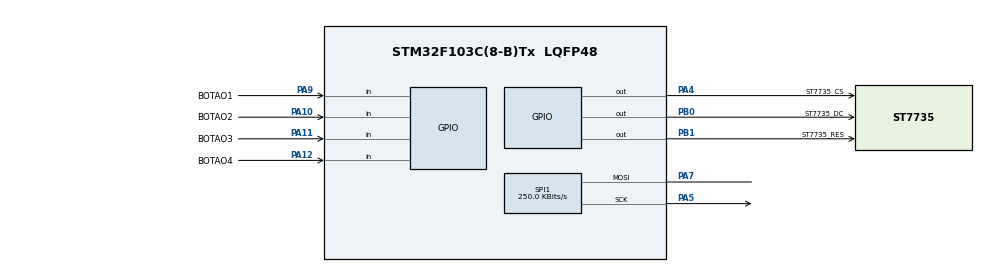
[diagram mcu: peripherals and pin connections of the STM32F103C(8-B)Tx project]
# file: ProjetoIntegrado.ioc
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Mcu.Family=STM32F1
Mcu.Name=STM32F103C(8-B)Tx
Mcu.Package=LQFP48
NVIC.PriorityGroup=NVIC_PRIORITYGROUP_4
PA10.GPIO_Label=BOTAO2
PA10.GPIO_PuPd=GPIO_PULLUP
PA10.Signal=GPIO_Input
PA11.GPIO_Label=BOTAO3
PA11.GPIO_PuPd=GPIO_PULLUP
PA11.Signal=GPIO_Input
PA12.GPIO_Label=BOTAO4
PA12.GPIO_PuPd=GPIO_PULLUP
PA12.Signal=GPIO_Input
PA13.Mode=Serial_Wire
PA13.Signal=SYS_JTMS-SWDIO
PA14.Mode=Serial_Wire
PA14.Signal=SYS_JTCK-SWCLK
PA4.GPIO_Label=ST7735_CS
PA4.Signal=GPIO_Output
PA5.Mode=Simplex_Bidirectional_Master
PA5.Signal=SPI1_SCK
PA7.Mode=Simplex_Bidirectional_Master
PA7.Signal=SPI1_MOSI
PA9.GPIO_Label=BOTAO1
PA9.GPIO_PuPd=GPIO_PULLUP
PA9.Signal=GPIO_Input
PB0.GPIO_Label=ST7735_DC
PB0.Signal=GPIO_Output
PB1.GPIO_Label=ST7735_RES
PB1.Signal=GPIO_Output
ProjectManager.HeapSize=0x200
ProjectManager.StackSize=0x400
ProjectManager.TargetToolchain=STM32CubeIDE
RCC.APB1Freq_Value=8000000
RCC.APB2Freq_Value=8000000
SPI1.BaudRatePrescaler=SPI_BAUDRATEPRESCALER_32
SPI1.CalculateBaudRate=250.0 KBits/s
SPI1.Direction=SPI_DIRECTION_1LINE
SPI1.Mode=SPI_MODE_MASTER
SPI1.VirtualType=VM_MASTER
board=custom

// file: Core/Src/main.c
/* USER CODE BEGIN Header */
/**
  ******************************************************************************
  * @file           : main.c
  * @brief          : Main program body
  ******************************************************************************
  * @attention
  *
  * <h2><center>&copy; Copyright (c) 2026 STMicroelectronics.
  * All rights reserved.</center></h2>
  *
  * This software component is licensed by ST under BSD 3-Clause license,
  * the "License"; You may not use this file except in compliance with the
  * License. You may obtain a copy of the License at:
  *                        opensource.org/licenses/BSD-3-Clause
  *
  ******************************************************************************
  */
/* USER CODE END Header */
#include "main.h"

/* USER CODE BEGIN Includes */
#include "st7735\st7735.h"
#include <stdio.h>
#include <string.h>
#include <stdlib.h>
#include <time.h>
/* USER CODE END Includes */

/* USER CODE BEGIN PD */
#define BOTAO1 HAL_GPIO_ReadPin(BOTAO1_GPIO_Port, BOTAO1_Pin)
#define BOTAO2 HAL_GPIO_ReadPin(BOTAO2_GPIO_Port, BOTAO2_Pin)
#define BOTAO3 HAL_GPIO_ReadPin(BOTAO3_GPIO_Port, BOTAO3_Pin)
#define BOTAO4 HAL_GPIO_ReadPin(BOTAO4_GPIO_Port, BOTAO4_Pin)
/* USER CODE END PD */

SPI_HandleTypeDef hspi1;

void SystemClock_Config(void);
static void MX_GPIO_Init(void);
static void MX_SPI1_Init(void);

int main(void)
{

  /* MCU Configuration--------------------------------------------------------*/

  /* Reset of all peripherals, Initializes the Flash interface and the Systick. */
  HAL_Init();

  /* Configure the system clock */
  SystemClock_Config();

  /* Initialize all configured peripherals */
  MX_GPIO_Init();
  MX_SPI1_Init();
  /* USER CODE BEGIN 2 */
  ST7735_Init();
  /* USER CODE END 2 */

  /* Infinite loop */
  /* USER CODE BEGIN WHILE */
  ST7735_Init();
  GPIO_PinState botao1,botao2,botao3,botao4;

  int senha;
  char buffer [200];
  char senhaStr[5];
  char entrada[5];
  int pos = 0;
  int numeroAtual =0;
  int quantidadeAlunos = 0;
  int alunosPresentes = 0;
  char presentes[10];
  char alunosStr[10];
  int estado = 0;
int estadoAnt1 = GPIO_PIN_SET;
int estadoAnt2 = GPIO_PIN_SET;
int estadoAnt3 = GPIO_PIN_SET;
int estadoAnt4 = GPIO_PIN_SET;
int modo = 0;

  while (1)
  {
	  	  	botao1 = HAL_GPIO_ReadPin(BOTAO1_GPIO_Port, BOTAO1_Pin);
		    botao2 = HAL_GPIO_ReadPin(BOTAO2_GPIO_Port, BOTAO2_Pin);
		    botao3 = HAL_GPIO_ReadPin(BOTAO3_GPIO_Port, BOTAO3_Pin);
		    botao4 = HAL_GPIO_ReadPin(BOTAO4_GPIO_Port, BOTAO4_Pin);

		  if (botao1 == GPIO_PIN_RESET)
		  {
	     ST7735_FillScreen(BLACK);
	     ST7735_WriteString(10, 10, "Iniciando Sistema", Font_7x10, WHITE, BLACK);

	     	 srand(HAL_GetTick());

		   senha = rand() % 9000 + 1000;
		   sprintf(senhaStr, "%04d", senha);
		   ST7735_WriteString(10, 60, senhaStr, Font_7x10, YELLOW, BLACK);

		   HAL_Delay(2000);

		   ST7735_FillScreen(BLACK);
		   ST7735_WriteString(10, 10, "Digite a senha para continuar", Font_7x10, WHITE, BLACK);

		   pos = 0;
		   numeroAtual = 0;

	       modo = 1;

		   HAL_Delay(300);
	   }

	    if (modo == 1 && botao2 == GPIO_PIN_RESET)
	    	{
	    		numeroAtual= (numeroAtual + 1) % 10;

	    		char temp[2];
	    		sprintf(temp, "%d", numeroAtual);

	    		ST7735_WriteString(10 + pos * 20, 40, temp, Font_7x10, WHITE, BLACK);

	    		HAL_Delay(200);
	    	}
	    if (modo == 1 && botao4 == GPIO_PIN_RESET)
	    {
	    	numeroAtual --;

	    	if (numeroAtual < 0 )
	    	{
	    		numeroAtual = 9;
	    	}
	    	char temp[2];
	    	sprintf(temp, "%d", numeroAtual);

    		ST7735_WriteString(10 + pos * 20, 40, temp, Font_7x10, WHITE, BLACK);

    		HAL_Delay(200);
	    }
	    if (modo == 1 && botao3 == GPIO_PIN_RESET)
	    {
	    	if ( pos < 4 )
	    	{

	    	entrada[pos] = numeroAtual + '0';

	    	char temp [2] = {entrada [pos], '\0'};
	    	ST7735_WriteString(10 + pos * 20, 40, temp, Font_7x10, GREEN, BLACK);

	    	pos ++;

	    	ST7735_FillRectangle(10 + pos*20,40,20,20,BLACK);

	    	numeroAtual = 0;

	    	}

	    	HAL_Delay(100);

	  	  	 if ( pos == 4)
	  	  	 {
	  	  		 entrada[4] = '\0';

	  	  		 if (strcmp(entrada, senhaStr) == 0)
	  	  		 {
	  	  			 ST7735_WriteString(10, 40, "Senha Correta", Font_7x10, RED,BLACK);
	  	  		 modo = 2;

	  	  		 HAL_Delay(1000);

	  	  		    ST7735_FillScreen(BLACK);
	  	  			ST7735_WriteString(10,10,"Digite a quantidade de alunos",Font_7x10,GREEN,BLACK);
	  	  			sprintf(alunosStr, "%d", quantidadeAlunos);
	  	  			ST7735_FillRectangle(10,40,50,20,BLACK);
	  	  			ST7735_WriteString(10,40,alunosStr,Font_7x10,YELLOW,BLACK);

	  	  		    HAL_Delay(1000);
	  	  		    quantidadeAlunos = 0;

	  	  		    modo = 2;

	  	  		while(HAL_GPIO_ReadPin(BOTAO3_GPIO_Port, BOTAO3_Pin)== GPIO_PIN_RESET);
	  	  		HAL_Delay(50);

	  	  		 }

	  	  		 	 else
	  	  		  	  		 {

	  	  		 ST7735_WriteString(10 , 40, "Senha Incorreta", Font_7x10, CYAN, BLACK);
	  	  		 HAL_Delay(900);
 	  			 ST7735_WriteString(10, 60, senhaStr, Font_7x10, YELLOW, BLACK);	  	  		  	  			 ST7735_FillScreen(BLACK);
	  	  		 ST7735_WriteString(10 , 10, "Digite novamente:", Font_7x10, CYAN, BLACK);
	  	  		 ST7735_FillRectangle(0, 40, 128, 20, BLACK);

	  	  		 pos = 0;
	  	 		numeroAtual = 0;

	  	 		memset(entrada, 0, sizeof(entrada));
	  	  		  	  		 }

	  	  	 }
	    }

	  	  	if (modo == 2 && botao2 == GPIO_PIN_RESET )
	  	  	{
	  	  		quantidadeAlunos++;

	  	  		if (quantidadeAlunos > 40)
	  	  		{
	  	  			quantidadeAlunos = 0;
	  	  			HAL_Delay(50);
	  	  		}

	  	  				sprintf(alunosStr, "%d", quantidadeAlunos);
	  	  				ST7735_FillRectangle(10, 40, 50, 20, BLACK);
	  	  				ST7735_WriteString(10,40,alunosStr,Font_7x10,YELLOW,BLACK);

	  	  			  	 HAL_Delay(200);
	  	  		}

	  	  			 if (modo == 2 && botao4 == GPIO_PIN_RESET)
	  	  			{
	  	  			  	 quantidadeAlunos--;

	  	  			  	 if (quantidadeAlunos < 0)
	  	  			  	{
	  	  			   	   quantidadeAlunos = 40;
	  	  			  	 }
	  	  			 sprintf(alunosStr, "%d", quantidadeAlunos);
	  	  			 ST7735_FillRectangle(10, 40, 50, 20, BLACK);
	  	  			 ST7735_WriteString(10,40,alunosStr,Font_7x10,YELLOW,BLACK);

	  	  			  	  	}

	  	  			  	  if (modo == 2 && botao3 == GPIO_PIN_RESET )
	  	  			 {
	  	  			  	      ST7735_FillScreen(BLACK);

	  	  			  	      ST7735_WriteString(10,10,"Alunos:",Font_7x10,GREEN,BLACK);
	  	  			  	      sprintf(alunosStr, "%d", quantidadeAlunos);
	  	  			  	      ST7735_WriteString(10,40,alunosStr,Font_7x10,YELLOW,BLACK);
	  	  			  	      HAL_Delay(1500);

	  	  			  	   modo = 3;
	  	  			  	  alunosPresentes = 0;

	  	  			  while(HAL_GPIO_ReadPin(BOTAO3_GPIO_Port, BOTAO3_Pin)== GPIO_PIN_RESET);
	  	  			  HAL_Delay(50);

	  	  			  	ST7735_FillScreen(BLACK);
	  	  			  	ST7735_WriteString(10,10,"Digite a quantidade de alunos presentes",Font_7x10,GREEN,BLACK);
	  	  			  	sprintf(alunosStr, "%d", alunosPresentes);
	  	  			  	ST7735_FillRectangle(10,40,50,20,BLACK);
	  	  			  	ST7735_WriteString(10,40,alunosStr,Font_7x10,YELLOW,BLACK);
	  	  			  	HAL_Delay(1000);

	  	  			 }

	  	  			  if (modo == 3 && botao2 == GPIO_PIN_RESET)
	  	  			  {
	  	  			      alunosPresentes++;

	  	  			      if (alunosPresentes > quantidadeAlunos)
	  	  			      {
	  	  			          alunosPresentes = 0;
	  	  			      }

	  	  			      sprintf(alunosStr, "%d", alunosPresentes);
	  	  			      ST7735_FillRectangle(10,40,50,20,BLACK);
	  	  			      ST7735_WriteString(10,40,alunosStr,Font_7x10,YELLOW, BLACK);

	  	  			      HAL_Delay(200);
	  	  			  }

	  	  			if (modo == 3 && botao4 == GPIO_PIN_RESET)
	  	  			{
	  	  			    alunosPresentes--;

	  	  			    if (alunosPresentes < 0)
	  	  			    {
	  	  			        alunosPresentes = quantidadeAlunos;
	  	  			    }

	  	  			    sprintf(alunosStr, "%d", alunosPresentes);
	  	  			    ST7735_FillRectangle(10,40,50,20,BLACK);
	  	  			    ST7735_WriteString(10,40,alunosStr,Font_7x10,YELLOW,BLACK);

	  	  			    HAL_Delay(200);
	  	  			}

	  	  		if (modo == 3 && botao3 == GPIO_PIN_RESET)
	  	  		{
	  	  		    ST7735_FillScreen(BLACK);

	  	  		    ST7735_WriteString(10,10,"Presentes:",Font_7x10,GREEN,BLACK);
	  	  		    sprintf(alunosStr,"%d",alunosPresentes);
	  	  		    ST7735_WriteString(10,40,alunosStr,Font_7x10,YELLOW, BLACK);

	  	  		    HAL_Delay(2000);
	  	  		}

	  	  		if (botao2 == GPIO_PIN_RESET && botao3 == GPIO_PIN_RESET )
	  	  		{
	  	  			ST7735_FillScreen(BLACK);
	  	  			ST7735_WriteString(10,30,"AULA FINALIZADA",Font_7x10,CYAN,BLACK);
	  	  			modo = 0;
	  	  			HAL_Delay(1000);

	  	  		while(HAL_GPIO_ReadPin(BOTAO2_GPIO_Port,BOTAO2_Pin) == GPIO_PIN_RESET ||HAL_GPIO_ReadPin(BOTAO3_GPIO_Port, BOTAO3_Pin) == GPIO_PIN_RESET);
	  	  		    HAL_Delay(50);

	  	  		}

	      estadoAnt1 = botao1;
	      estadoAnt2 = botao2;
	      estadoAnt3 = botao3;
	      estadoAnt4 = botao4;

	  }
  }

    /* USER CODE END WHILE */

void SystemClock_Config(void)
{
  RCC_OscInitTypeDef RCC_OscInitStruct = {0};
  RCC_ClkInitTypeDef RCC_ClkInitStruct = {0};

  /** Initializes the RCC Oscillators according to the specified parameters
  * in the RCC_OscInitTypeDef structure.
  */
  RCC_OscInitStruct.OscillatorType = RCC_OSCILLATORTYPE_HSI;
  RCC_OscInitStruct.HSIState = RCC_HSI_ON;
  RCC_OscInitStruct.HSICalibrationValue = RCC_HSICALIBRATION_DEFAULT;
  RCC_OscInitStruct.PLL.PLLState = RCC_PLL_NONE;
  if (HAL_RCC_OscConfig(&RCC_OscInitStruct) != HAL_OK)
  {
    Error_Handler();
  }
  /** Initializes the CPU, AHB and APB buses clocks
  */
  RCC_ClkInitStruct.ClockType = RCC_CLOCKTYPE_HCLK|RCC_CLOCKTYPE_SYSCLK
                              |RCC_CLOCKTYPE_PCLK1|RCC_CLOCKTYPE_PCLK2;
  RCC_ClkInitStruct.SYSCLKSource = RCC_SYSCLKSOURCE_HSI;
  RCC_ClkInitStruct.AHBCLKDivider = RCC_SYSCLK_DIV1;
  RCC_ClkInitStruct.APB1CLKDivider = RCC_HCLK_DIV1;
  RCC_ClkInitStruct.APB2CLKDivider = RCC_HCLK_DIV1;

  if (HAL_RCC_ClockConfig(&RCC_ClkInitStruct, FLASH_LATENCY_0) != HAL_OK)
  {
    Error_Handler();
  }
}

static void MX_SPI1_Init(void)
{

  /* SPI1 parameter configuration*/
  hspi1.Instance = SPI1;
  hspi1.Init.Mode = SPI_MODE_MASTER;
  hspi1.Init.Direction = SPI_DIRECTION_1LINE;
  hspi1.Init.DataSize = SPI_DATASIZE_8BIT;
  hspi1.Init.CLKPolarity = SPI_POLARITY_LOW;
  hspi1.Init.CLKPhase = SPI_PHASE_1EDGE;
  hspi1.Init.NSS = SPI_NSS_SOFT;
  hspi1.Init.BaudRatePrescaler = SPI_BAUDRATEPRESCALER_32;
  hspi1.Init.FirstBit = SPI_FIRSTBIT_MSB;
  hspi1.Init.TIMode = SPI_TIMODE_DISABLE;
  hspi1.Init.CRCCalculation = SPI_CRCCALCULATION_DISABLE;
  hspi1.Init.CRCPolynomial = 10;
  if (HAL_SPI_Init(&hspi1) != HAL_OK)
  {
    Error_Handler();
  }

}

static void MX_GPIO_Init(void)
{
  GPIO_InitTypeDef GPIO_InitStruct = {0};

  /* GPIO Ports Clock Enable */
  __HAL_RCC_GPIOA_CLK_ENABLE();
  __HAL_RCC_GPIOB_CLK_ENABLE();

  /*Configure GPIO pin Output Level */
  HAL_GPIO_WritePin(ST7735_CS_GPIO_Port, ST7735_CS_Pin, GPIO_PIN_RESET);

  /*Configure GPIO pin Output Level */
  HAL_GPIO_WritePin(GPIOB, ST7735_DC_Pin|ST7735_RES_Pin, GPIO_PIN_RESET);

  /*Configure GPIO pin : ST7735_CS_Pin */
  GPIO_InitStruct.Pin = ST7735_CS_Pin;
  GPIO_InitStruct.Mode = GPIO_MODE_OUTPUT_PP;
  GPIO_InitStruct.Pull = GPIO_NOPULL;
  GPIO_InitStruct.Speed = GPIO_SPEED_FREQ_LOW;
  HAL_GPIO_Init(ST7735_CS_GPIO_Port, &GPIO_InitStruct);

  /*Configure GPIO pins : ST7735_DC_Pin ST7735_RES_Pin */
  GPIO_InitStruct.Pin = ST7735_DC_Pin|ST7735_RES_Pin;
  GPIO_InitStruct.Mode = GPIO_MODE_OUTPUT_PP;
  GPIO_InitStruct.Pull = GPIO_NOPULL;
  GPIO_InitStruct.Speed = GPIO_SPEED_FREQ_LOW;
  HAL_GPIO_Init(GPIOB, &GPIO_InitStruct);

  /*Configure GPIO pins : PA9 PA10 PA11 PA12 */
  GPIO_InitStruct.Pin = GPIO_PIN_9|GPIO_PIN_10|GPIO_PIN_11|GPIO_PIN_12;
  GPIO_InitStruct.Mode = GPIO_MODE_INPUT;
  GPIO_InitStruct.Pull = GPIO_PULLUP;
  HAL_GPIO_Init(GPIOA, &GPIO_InitStruct);

}

void Error_Handler(void)
{
  __disable_irq();
  while (1)
  {
  }
}

/************************ (C) COPYRIGHT STMicroelectronics *****END OF FILE****/
